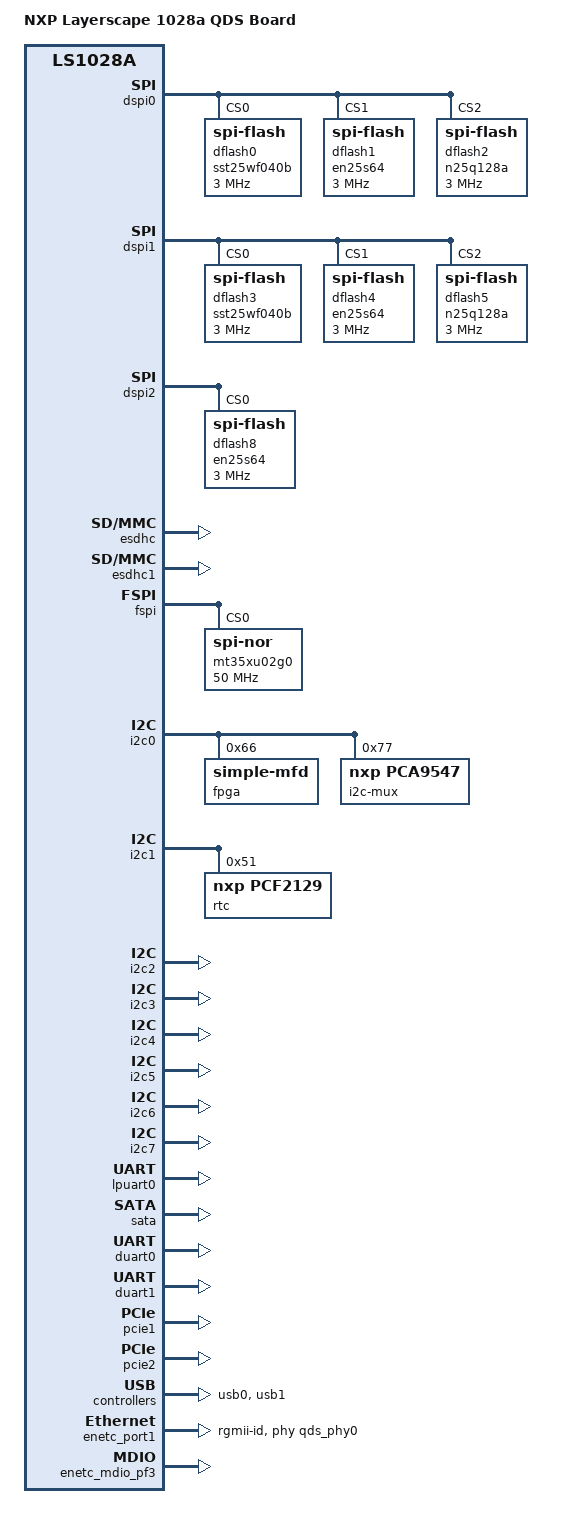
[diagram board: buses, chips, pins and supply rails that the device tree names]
// SPDX-License-Identifier: GPL-2.0+ OR X11
/*
 * NXP ls1028AQDS device tree source
 *
 * Copyright 2019 NXP
 *
 */

/dts-v1/;

#include "fsl-ls1028a.dtsi"

/ {
	model = "NXP Layerscape 1028a QDS Board";
	compatible = "fsl,ls1028a-qds", "fsl,ls1028a";
	aliases {
		spi0 = &fspi;
		spi1 = &dspi0;
		spi2 = &dspi1;
		spi3 = &dspi2;
	};

};

&dspi0 {
	bus-num = <0>;
	status = "okay";

	dflash0: sst25wf040b {
		#address-cells = <1>;
		#size-cells = <1>;
		compatible = "spi-flash";
		spi-max-frequency = <3000000>;
		spi-cpol;
		spi-cpha;
		reg = <0>;
	};

	dflash1: en25s64 {
		#address-cells = <1>;
		#size-cells = <1>;
		compatible = "spi-flash";
		spi-max-frequency = <3000000>;
		spi-cpol;
		spi-cpha;
		reg = <1>;
	};
	dflash2: n25q128a {
		#address-cells = <1>;
		#size-cells = <1>;
		compatible = "spi-flash";
		spi-max-frequency = <3000000>;
		spi-cpol;
		spi-cpha;
		reg = <2>;
	};
};

&dspi1 {
	bus-num = <0>;
	status = "okay";

	dflash3: sst25wf040b {
		#address-cells = <1>;
		#size-cells = <1>;
		compatible = "spi-flash";
		spi-max-frequency = <3000000>;
		spi-cpol;
		spi-cpha;
		reg = <0>;
	};

	dflash4: en25s64 {
		#address-cells = <1>;
		#size-cells = <1>;
		compatible = "spi-flash";
		spi-max-frequency = <3000000>;
		spi-cpol;
		spi-cpha;
		reg = <1>;
	};
	dflash5: n25q128a {
		#address-cells = <1>;
		#size-cells = <1>;
		compatible = "spi-flash";
		spi-max-frequency = <3000000>;
		spi-cpol;
		spi-cpha;
		reg = <2>;
	};
};

&dspi2 {
	bus-num = <0>;
	status = "okay";

	dflash8: en25s64 {
		#address-cells = <1>;
		#size-cells = <1>;
		compatible = "spi-flash";
		spi-max-frequency = <3000000>;
		spi-cpol;
		spi-cpha;
		reg = <0>;
	};
};

&esdhc {
	status = "okay";
};

&esdhc1 {
	status = "okay";

};

&fspi {
	status = "okay";

	mt35xu02g0: flash@0 {
		#address-cells = <1>;
		#size-cells = <1>;
		compatible = "jedec,spi-nor";
		spi-max-frequency = <50000000>;
		reg = <0>;
		spi-rx-bus-width = <8>;
		spi-tx-bus-width = <1>;
	};
};

&i2c0 {
	status = "okay";

	fpga@66 {
		#address-cells = <1>;
		#size-cells = <0>;
		compatible = "simple-mfd";
		reg = <0x66>;

		mux-mdio@54 {
			#address-cells = <1>;
			#size-cells = <0>;
			compatible = "mdio-mux-i2creg";
			reg = <0x54>;
			#mux-control-cells = <1>;
			mux-reg-masks = <0x54 0xf0>;
			mdio-parent-bus = <&enetc_mdio_pf3>;

			/* on-board MDIO with a single RGMII PHY */
			mdio@00 {
				#address-cells = <1>;
				#size-cells = <0>;
				reg = <0x00>;

				qds_phy0: phy@5 {
					reg = <5>;
				};
			};
			/* slot 1 */
			slot1: mdio@40 {
				#address-cells = <1>;
				#size-cells = <0>;
				reg = <0x40>;
			};
			/* slot 2 */
			slot2: mdio@50 {
				#address-cells = <1>;
				#size-cells = <0>;
				reg = <0x50>;
			};
			/* slot 3 */
			slot3: mdio@60 {
				#address-cells = <1>;
				#size-cells = <0>;
				reg = <0x60>;
			};
			/* slot 4 */
			slot4: mdio@70 {
				#address-cells = <1>;
				#size-cells = <0>;
				reg = <0x70>;
			};
		};
	};

	i2c-mux@77 {
		compatible = "nxp,pca9547";
		reg = <0x77>;
		#address-cells = <1>;
		#size-cells = <0>;
	};
};

&i2c1 {
	status = "okay";

	rtc@51 {
		compatible = "nxp,pcf2129";
		reg = <0x51>;
	};
};

&i2c2 {
	status = "okay";
};

&i2c3 {
	status = "okay";
};

&i2c4 {
	status = "okay";
};

&i2c5 {
	status = "okay";
};

&i2c6 {
	status = "okay";
};

&i2c7 {
	status = "okay";
};

&lpuart0 {
	status = "okay";
};

&sata {
	status = "okay";
};

&duart0 {
	status = "okay";
};

&duart1 {
	status = "okay";
};

&pcie1 {
	status = "okay";
};

&pcie2 {
	status = "okay";
};

&usb0 {
	status = "okay";
};

&usb1 {
	status = "okay";
};

&enetc_port1 {
	status = "okay";
	phy-mode = "rgmii-id";
	phy-handle = <&qds_phy0>;
};

&enetc_mdio_pf3 {
	status = "okay";
};

#include "fsl-ls1028a-qds-8xxx-sch-24801.dtsi"
#include "fsl-ls1028a-qds-x5xx-sch-28021-LBRW.dtsi"
